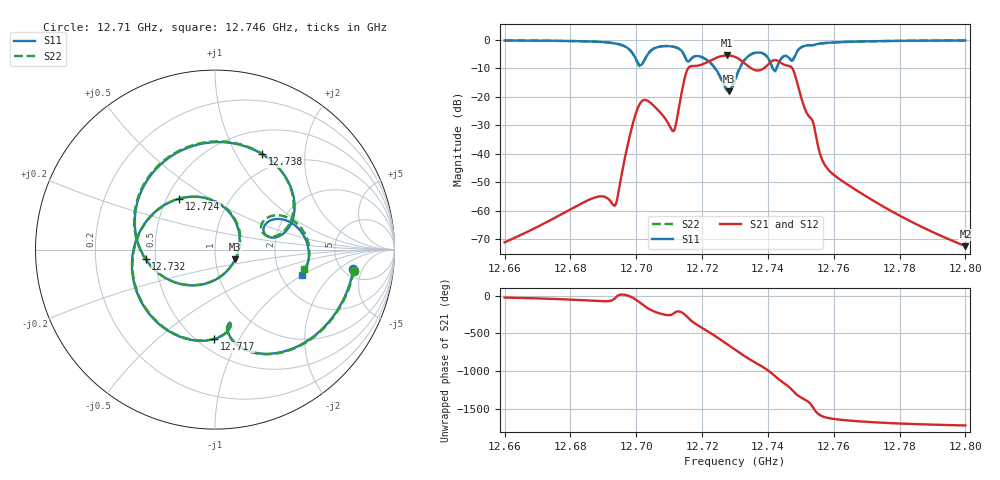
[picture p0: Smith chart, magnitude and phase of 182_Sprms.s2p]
! TOUCHSTONE file generated by CST MICROWAVE STUDIO
! Date and time: Wed Jul 31 20:05:39 2024
! Project name: WaveGuide_BPF-Ver4.1_U-shape_Ku_T3_C4_CWA_2.cst
! Parameters = {cavity_h=16; cavity_l0=10; cavity_l1=15.217; cavity_l2=16.8602; cavity_l3=17.1412; cavity_l4=17.2672; cavity_l5=17.1155; cavity_l6=17.5885; cavity_r=2.5; cavity_screw_l=0.5; cavity_screw_r=1.5; cavity_w=8; iris_h00=0; iris_h01=8.7983; iris_h112=0; iris_h12=5.5902; iris_h211=3.654; ir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
! Header version: 2018
! Port assignment regex: !\s*Touchstone port\s*([0-9]+)\s*=\s*(CST MWS port|CST DS port)\s*([0-9]+|Zmin|Zmax)\s*\(\"(.*)\"\)(\s*mode\s*([0-9]+))?.*
! Touchstone port assignment:
! Touchstone port 1 = CST MWS port 1 ("")
! Touchstone port 2 = CST MWS port 2 ("")
# GHz S RI R 50
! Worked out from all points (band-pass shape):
!   5001 points, 12.66 GHz to 12.8 GHz, reference 50 ohm
!   highest |S21| = -5.45 dB at 12.728 GHz (marker M1); lowest = -72.5 dB at 12.8 GHz (marker M2)
!   |S21| within 3 dB of the highest: 12.72034 GHz to 12.7332 GHz (12.86 MHz wide, 0.101 % of centre); 12.74021 GHz to 12.74454 GHz (4.332 MHz wide, 0.034 % of centre)
!   lowest |S11| = -18.1 dB at 12.728 GHz (marker M3), VSWR 1.28, Z = 62.2 - j6.89 ohm
!   |S11| at or under -10 dB: 12.72403 GHz to 12.73144 GHz (7.408 MHz wide, 0.0582 % of centre); 12.74148 GHz to 12.74256 GHz (1.079 MHz wide, 0.00847 % of centre)
!   |S22| runs from -18.0 to -0.2 dB; largest |S21 - S12| = 1e-09
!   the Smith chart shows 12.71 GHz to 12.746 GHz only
!   S11 on the Smith chart (normalised r, x): 12.71 GHz: 6.19, -3.34; 12.717 GHz: 0.60, -0.79; 12.724 GHz: 0.58, +0.37; 12.732 GHz: 0.44, -0.05; 12.738 GHz: 0.79, +1.29; 12.746 GHz: 2.60, -0.98
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12.66  0.3114 0.9297  0.000255 -0.000106  0.000255 -0.000106  0.3108 0.9302
12.68335  0.7533 0.5799  0.000722 -0.00112  0.000722 -0.00112  0.7488 0.5869
12.6936  0.8674 -0.0423  0.00109 -0.000599  0.00109 -0.000599  0.8698 -0.0247
12.69861  0.2662 -0.5539  0.027 -0.00849  0.027 -0.00849  0.2773 -0.5428
12.70172  -0.3563 0.1135  -0.0297 -0.0786  -0.0297 -0.0786  -0.338 0.1401
12.7039  0.0911 0.5921  -0.082 -0.00662  -0.082 -0.00662  0.1291 0.5946
12.70668  0.6379 0.3986  -0.0392 0.0427  -0.0392 0.0427  0.6564 0.3808
12.70981  0.7712 -0.1062  -0.00769 0.0324  -0.00769 0.0324  0.7728 -0.1198
12.71723  -0.00579 -0.499  0.3424 0.0683  0.3424 0.0683  -0.00494 -0.4969
12.72056  -0.4581 -0.1493  0.0637 -0.3774  0.0637 -0.3774  -0.4563 -0.1411
12.7235  -0.1988 0.2842  -0.4388 -0.151  -0.4388 -0.151  -0.1799 0.2885
12.72765  0.1307 -0.00311  0.1242 0.519  0.1242 0.519  0.1254 -0.0287
12.72818  0.1122 -0.0545  0.2625 0.463  0.2625 0.463  0.1003 -0.0776
12.73  -0.0499 -0.1892  0.5022 0.0431  0.5022 0.0431  -0.0732 -0.193
12.73227  -0.3861 -0.0527  0.1873 -0.3744  0.1873 -0.3744  -0.3963 -0.0402
12.73795  0.2643 0.5306  -0.2531 0.1589  -0.2531 0.1589  0.2584 0.5362
12.7424  0.2746 0.1303  0.442 0.0272  0.442 0.0272  0.2594 0.1412
12.74607  0.4835 -0.1411  -0.1706 -0.3099  -0.1706 -0.3099  0.4973 -0.1094
12.75335  0.2479 -0.7699  0.0378 -0.0131  0.0378 -0.0131  0.2695 -0.7632
12.75831  -0.2286 -0.8636  -0.00526 0.000333  -0.00526 0.000333  -0.211 -0.8668
12.77668  -0.9302 -0.2393  -0.000342 0.000982  -0.000342 0.000982  -0.9286 -0.2434
12.8  -0.9435 0.2691  5.2e-05 0.00023  5.2e-05 0.00023  -0.943 0.2702
